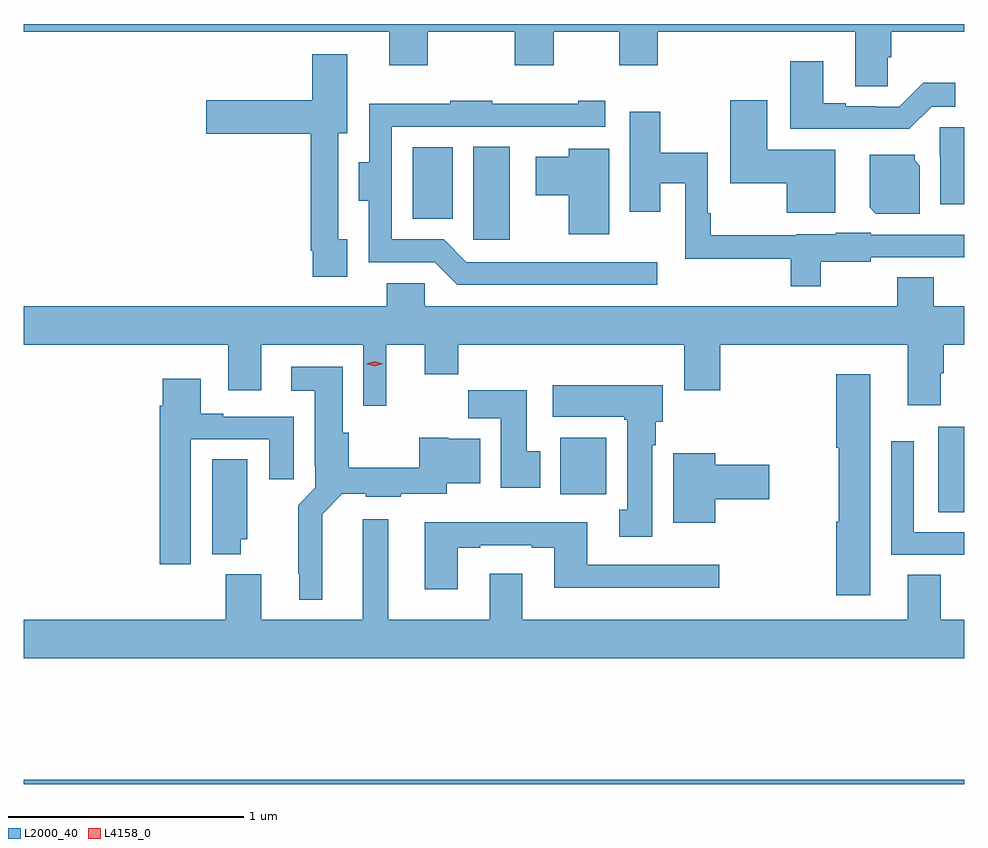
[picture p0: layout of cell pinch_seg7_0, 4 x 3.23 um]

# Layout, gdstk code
import gdstk
lib = gdstk.Library(unit=1e-6, precision=1e-09)
def R(c, l, rs):  # rectangles x0, y0, x1, y1
    for r in rs: c.add(gdstk.rectangle(r[:2], r[2:], *l))
def P(c, l, *ps):  # polygons
    for p in ps: c.add(gdstk.Polygon(p, *l))
L2000_40 = (2000, 40)
L4158_0 = (4158, 0)

pinch_seg7_0 = lib.new_cell('pinch_seg7_0')
R(pinch_seg7_0, L2000_40, [(1113.61,1078.669,1117.61,1078.688), (1117.499,1079.824,1117.61,1080.187), (1115.891,1079.9,1116.088,1080.142), (1115.522,1080.983,1115.677,1081.379), (1115.264,1081.073,1115.434,1081.375)])
P(pinch_seg7_0, L2000_40, [(1117.284,1081.758),(1117.298,1081.758),(1117.298,1081.868),(1117.61,1081.868),(1117.61,1081.9),(1113.61,1081.9),(1113.61,1081.868),(1115.165,1081.868),(1115.165,1081.725),(1115.329,1081.725),(1115.329,1081.868),(1115.699,1081.868),(1115.699,1081.725),(1115.863,1081.725),(1115.863,1081.868),(1116.143,1081.868),(1116.143,1081.725),(1116.307,1081.725),(1116.307,1081.868),(1117.145,1081.868),(1117.145,1081.636),(1117.284,1081.636)],
  [(1114.987,1080.985),(1114.947,1080.985),(1114.947,1081.436),(1114.987,1081.436),(1114.987,1081.771),(1114.838,1081.771),(1114.838,1081.575),(1114.386,1081.575),(1114.386,1081.433),(1114.831,1081.433),(1114.831,1080.937),(1114.839,1080.937),(1114.839,1080.825),(1114.987,1080.825)],
  [(1117.47,1081.548),(1117.57,1081.548),(1117.57,1081.651),(1117.435,1081.651),(1117.332,1081.548),(1117.232,1081.548),(1117.232,1081.551),(1117.105,1081.551),(1117.105,1081.564),(1117.009,1081.564),(1117.009,1081.741),(1116.869,1081.741),(1116.869,1081.454),(1117.376,1081.454)],
  [(1117.06,1081.366),(1116.772,1081.366),(1116.772,1081.576),(1116.614,1081.576),(1116.614,1081.223),(1116.854,1081.223),(1116.854,1081.097),(1117.06,1081.097)],
  [(1116.304,1080.888),(1115.493,1080.888),(1115.397,1080.984),(1115.175,1080.984),(1115.175,1081.464),(1116.082,1081.464),(1116.082,1081.573),(1115.969,1081.573),(1115.969,1081.561),(1115.603,1081.561),(1115.603,1081.573),(1115.425,1081.573),(1115.425,1081.561),(1115.079,1081.561),(1115.079,1081.312),(1115.036,1081.312),(1115.036,1081.148),(1115.078,1081.148),(1115.078,1080.888),(1115.358,1080.888),(1115.454,1080.792),(1116.304,1080.792)],
  [(1117,1080.89),(1117.212,1080.89),(1117.212,1080.909),(1117.61,1080.909),(1117.61,1081.005),(1117.212,1081.005),(1117.212,1081.012),(1117.062,1081.012),(1117.062,1081.006),(1116.894,1081.006),(1116.894,1081.002),(1116.532,1081.002),(1116.532,1081.096),(1116.519,1081.096),(1116.519,1081.352),(1116.316,1081.352),(1116.316,1081.528),(1116.188,1081.528),(1116.188,1081.101),(1116.316,1081.101),(1116.316,1081.224),(1116.423,1081.224),(1116.423,1080.902),(1116.871,1080.902),(1116.871,1080.785),(1117,1080.785)],
  [(1117.61,1081.461),(1117.504,1081.461),(1117.504,1081.338),(1117.508,1081.338),(1117.508,1081.134),(1117.61,1081.134)],
  [(1116.1,1081.369),(1115.927,1081.369),(1115.927,1081.336),(1115.787,1081.336),(1115.787,1081.172),(1115.927,1081.172),(1115.927,1081.007),(1116.1,1081.007)],
  [(1117.42,1081.298),(1117.398,1081.32),(1117.398,1081.345),(1117.208,1081.345),(1117.208,1081.12),(1117.234,1081.094),(1117.42,1081.094)],
  [(1115.152,1080.536),(1115.315,1080.536),(1115.315,1080.412),(1115.459,1080.412),(1115.459,1080.536),(1116.419,1080.536),(1116.419,1080.342),(1116.572,1080.342),(1116.572,1080.536),(1117.37,1080.536),(1117.37,1080.279),(1117.51,1080.279),(1117.51,1080.416),(1117.523,1080.416),(1117.523,1080.536),(1117.61,1080.536),(1117.61,1080.7),(1117.479,1080.7),(1117.479,1080.824),(1117.324,1080.824),(1117.324,1080.7),(1115.316,1080.7),(1115.316,1080.798),(1115.153,1080.798),(1115.153,1080.7),(1113.61,1080.7),(1113.61,1080.536),(1114.481,1080.536),(1114.481,1080.342),(1114.621,1080.342),(1114.621,1080.536),(1115.055,1080.536),(1115.055,1080.276),(1115.152,1080.276)],
  [(1114.879,1079.816),(1114.965,1079.903),(1115.064,1079.903),(1115.064,1079.891),(1115.214,1079.891),(1115.214,1079.903),(1115.41,1079.903),(1115.41,1079.948),(1115.551,1079.948),(1115.551,1080.136),(1115.418,1080.136),(1115.418,1080.142),(1115.293,1080.142),(1115.293,1080.013),(1114.992,1080.013),(1114.992,1080.162),(1114.966,1080.162),(1114.966,1080.442),(1114.749,1080.442),(1114.749,1080.341),(1114.847,1080.341),(1114.847,1080.022),(1114.851,1080.022),(1114.851,1079.928),(1114.777,1079.854),(1114.777,1079.563),(1114.781,1079.563),(1114.781,1079.453),(1114.879,1079.453)],
  [(1117.21,1080.412),(1117.064,1080.412),(1117.064,1080.099),(1117.076,1080.099),(1117.076,1079.784),(1117.064,1079.784),(1117.064,1079.472),(1117.21,1079.472)],
  [(1114.321,1080.135),(1114.655,1080.135),(1114.655,1079.964),(1114.759,1079.964),(1114.759,1080.231),(1114.459,1080.231),(1114.459,1080.244),(1114.363,1080.244),(1114.363,1080.391),(1114.202,1080.391),(1114.202,1080.278),(1114.19,1080.278),(1114.19,1079.604),(1114.321,1079.604)],
  [(1116.283,1080.11),(1116.298,1080.11),(1116.298,1080.21),(1116.328,1080.21),(1116.328,1080.364),(1115.859,1080.364),(1115.859,1080.23),(1116.163,1080.23),(1116.163,1080.217),(1116.176,1080.217),(1116.176,1079.834),(1116.143,1079.834),(1116.143,1079.721),(1116.283,1079.721)],
  [(1115.806,1080.084),(1115.749,1080.084),(1115.749,1080.343),(1115.5,1080.343),(1115.5,1080.224),(1115.639,1080.224),(1115.639,1079.928),(1115.806,1079.928)],
  [(1117.61,1079.739),(1117.395,1079.739),(1117.395,1080.127),(1117.299,1080.127),(1117.299,1079.643),(1117.61,1079.643)],
  [(1116.55,1079.879),(1116.781,1079.879),(1116.781,1080.026),(1116.55,1080.026),(1116.55,1080.076),(1116.371,1080.076),(1116.371,1079.78),(1116.55,1079.78)],
  [(1114.534,1079.709),(1114.561,1079.709),(1114.561,1080.05),(1114.412,1080.05),(1114.412,1079.645),(1114.534,1079.645)],
  [(1117.61,1079.368),(1117.51,1079.368),(1117.51,1079.558),(1117.37,1079.558),(1117.37,1079.368),(1115.731,1079.368),(1115.731,1079.563),(1115.591,1079.563),(1115.591,1079.368),(1115.161,1079.368),(1115.161,1079.794),(1115.051,1079.794),(1115.051,1079.368),(1114.621,1079.368),(1114.621,1079.56),(1114.469,1079.56),(1114.469,1079.368),(1113.61,1079.368),(1113.61,1079.204),(1117.61,1079.204)],
  [(1115.455,1079.673),(1115.551,1079.673),(1115.551,1079.685),(1115.771,1079.685),(1115.771,1079.673),(1115.867,1079.673),(1115.867,1079.504),(1116.568,1079.504),(1116.568,1079.601),(1116.007,1079.601),(1116.007,1079.782),(1115.315,1079.782),(1115.315,1079.496),(1115.455,1079.496)])
P(pinch_seg7_0, L4158_0, [(1115.102,1080.446),(1115.067,1080.456),(1115.066,1080.456),(1115.067,1080.456),(1115.102,1080.466),(1115.138,1080.456),(1115.138,1080.456),(1115.138,1080.455)])

lib.write_gds('pinch_seg7_0.gds')
